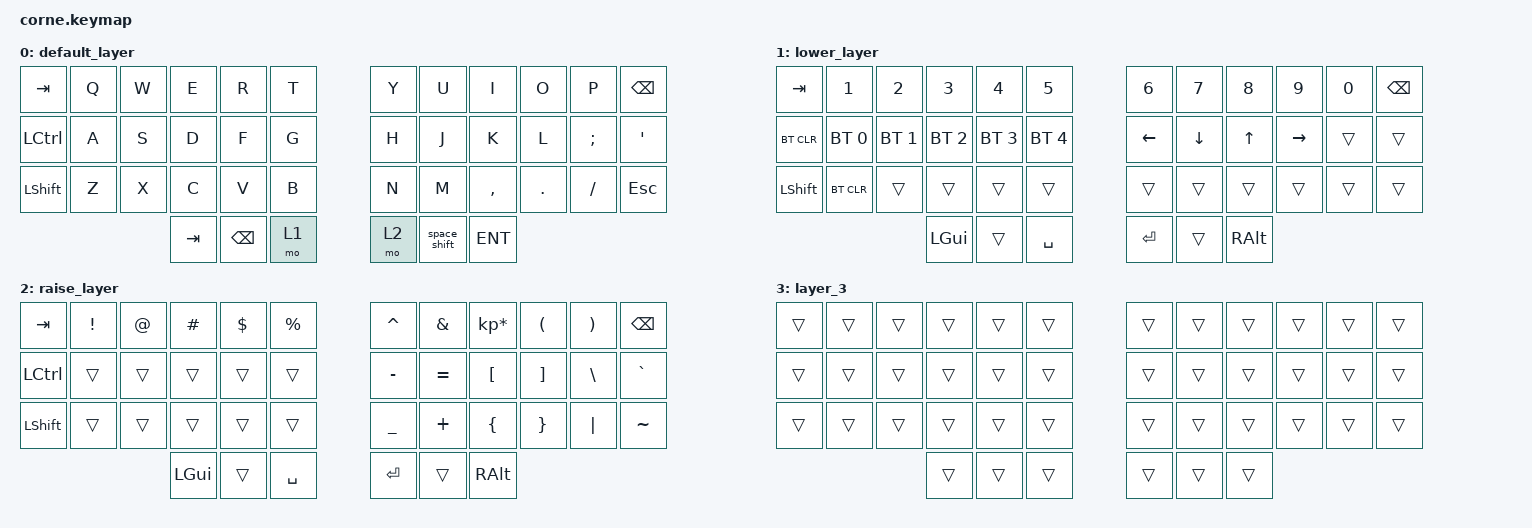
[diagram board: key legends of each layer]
/*
 * Copyright (c) 2020 The ZMK Contributors
 *
 * SPDX-License-Identifier: MIT
 */

#include <behaviors.dtsi>
#include <dt-bindings/zmk/keys.h>
#include <dt-bindings/zmk/bt.h>

/ {
    behaviors {
        space_shift: space_shift {
            compatible = "zmk,behavior-tap-dance";
            label = "SPACE_SHIFT";
            #binding-cells = <0>;
            bindings =
                <&kp SPACE>,
                <&kp LEFT_SHIFT>;
        };
    };

    keymap {
        compatible = "zmk,keymap";

        default_layer {
            // -----------------------------------------------------------------------------------------
            // |  TAB |  Q  |  W  |  E  |  R  |  T  |   |  Y  |  U   |  I  |  O  |  P  | BKSP |
            // | CTRL |  A  |  S  |  D  |  F  |  G  |   |  H  |  J   |  K  |  L  |  ;  |  '   |
            // | SHFT |  Z  |  X  |  C  |  V  |  B  |   |  N  |  M   |  ,  |  .  |  /  | ESC  |
            //                    | GUI | LWR | SPC |   | ENT | SPC  | ALT |

            bindings = <
  &kp TAB  &kp Q  &kp W    &kp E          &kp R  &kp T    &kp Y         &kp U      &kp I    &kp O     &kp P  &kp BSPC
&kp LCTRL  &kp A  &kp S    &kp D          &kp F  &kp G    &kp H         &kp J      &kp K    &kp L  &kp SEMI   &kp SQT
&kp LSHFT  &kp Z  &kp X    &kp C          &kp V  &kp B    &kp N         &kp M  &kp COMMA  &kp DOT  &kp FSLH   &kp ESC
                         &kp TAB  &kp BSPC  &mo 1    &mo 2  &space_shift  &kp ENT
            >;
        };

        lower_layer {
            // -----------------------------------------------------------------------------------------
            // |  TAB |  1  |  2  |  3  |  4  |  5  |   |  6  |  7  |  8  |  9  |  0  | BKSP |
            // | BTCLR| BT1 | BT2 | BT3 | BT4 | BT5 |   | LFT | DWN |  UP | RGT |     |      |
            // | SHFT |     |     |     |     |     |   |     |     |     |     |     |      |
            //                    | GUI |     | SPC |   | ENT |     | ALT |

            bindings = <
   &kp TAB  &kp NUMBER_1  &kp NUMBER_2        &kp N3        &kp N4        &kp N5      &kp N6    &kp N7    &kp N8     &kp N9  &kp N0  &kp BSPC
&bt BT_CLR  &bt BT_SEL 0  &bt BT_SEL 1  &bt BT_SEL 2  &bt BT_SEL 3  &bt BT_SEL 4    &kp LEFT  &kp DOWN    &kp UP  &kp RIGHT  &trans    &trans
 &kp LSHFT    &bt BT_CLR        &trans        &trans        &trans        &trans      &trans    &trans    &trans     &trans  &trans    &trans
                                            &kp LGUI        &trans     &kp SPACE     &kp RET    &trans  &kp RALT
            >;
        };

        raise_layer {
            // -----------------------------------------------------------------------------------------
            // |  TAB |  !  |  @  |  #  |  $  |  %  |   |  ^  |  &  |  *  |  (  |  )  | BKSP |
            // | CTRL |     |     |     |     |     |   |  -  |  =  |  [  |  ]  |  \  |  `   |
            // | SHFT |     |     |     |     |     |   |  _  |  +  |  {  |  }  | "|" |  ~   |
            //                    | GUI |     | SPC |   | ENT |     | ALT |

            bindings = <
  &kp TAB  &kp EXCL  &kp AT  &kp HASH  &kp DLLR  &kp PRCNT    &kp CARET   &kp AMPS  &kp KP_MULTIPLY  &kp LPAR  &kp RPAR   &kp BSPC
&kp LCTRL    &trans  &trans    &trans    &trans     &trans    &kp MINUS  &kp EQUAL         &kp LBKT  &kp RBKT  &kp BSLH  &kp GRAVE
&kp LSHFT    &trans  &trans    &trans    &trans     &trans    &kp UNDER   &kp PLUS         &kp LBRC  &kp RBRC  &kp PIPE  &kp TILDE
                             &kp LGUI    &trans  &kp SPACE      &kp RET     &trans         &kp RALT
            >;
        };

        layer_3 {
            bindings = <
&trans  &trans  &trans  &trans  &trans  &trans    &trans  &trans  &trans  &trans  &trans  &trans
&trans  &trans  &trans  &trans  &trans  &trans    &trans  &trans  &trans  &trans  &trans  &trans
&trans  &trans  &trans  &trans  &trans  &trans    &trans  &trans  &trans  &trans  &trans  &trans
                        &trans  &trans  &trans    &trans  &trans  &trans
            >;
        };
    };
};
